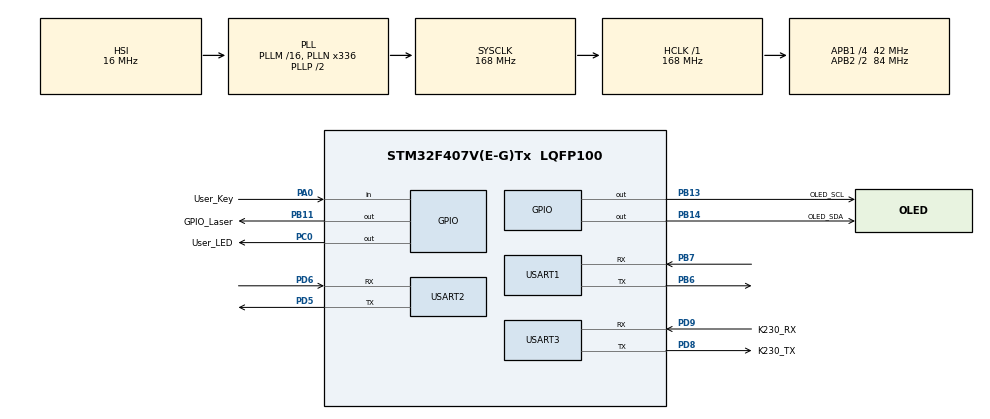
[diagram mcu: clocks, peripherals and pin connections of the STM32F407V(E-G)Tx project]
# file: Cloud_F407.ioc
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Mcu.Family=STM32F4
Mcu.Name=STM32F407V(E-G)Tx
Mcu.Package=LQFP100
NVIC.PriorityGroup=NVIC_PRIORITYGROUP_4
NVIC.TIM8_TRG_COM_TIM14_IRQn=true\:0\:0\:false\:false\:true\:true\:true\:true
NVIC.USART1_IRQn=true\:0\:0\:false\:false\:true\:true\:true\:true
NVIC.USART2_IRQn=true\:0\:0\:false\:false\:true\:true\:true\:true
NVIC.USART3_IRQn=true\:0\:0\:false\:false\:true\:true\:true\:true
PA0-WKUP.GPIO_Label=User_Key
PA0-WKUP.GPIO_PuPd=GPIO_PULLDOWN
PA0-WKUP.Signal=GPIO_Input
PA13.Mode=Serial_Wire
PA13.Signal=SYS_JTMS-SWDIO
PA14.Mode=Serial_Wire
PA14.Signal=SYS_JTCK-SWCLK
PB11.GPIO_Label=GPIO_Laser
PB11.Signal=GPIO_Output
PB13.GPIO_Label=OLED_SCL
PB13.GPIO_Speed=GPIO_SPEED_FREQ_HIGH
PB13.Signal=GPIO_Output
PB14.GPIO_Label=OLED_SDA
PB14.GPIO_Speed=GPIO_SPEED_FREQ_HIGH
PB14.Signal=GPIO_Output
PB6.Mode=Asynchronous
PB6.Signal=USART1_TX
PB7.Mode=Asynchronous
PB7.Signal=USART1_RX
PC0.GPIO_Label=User_LED
PC0.Signal=GPIO_Output
PD5.Mode=Asynchronous
PD5.Signal=USART2_TX
PD6.Mode=Asynchronous
PD6.Signal=USART2_RX
PD8.GPIO_Label=K230_TX
PD8.Mode=Asynchronous
PD8.Signal=USART3_TX
PD9.GPIO_Label=K230_RX
PD9.Mode=Asynchronous
PD9.Signal=USART3_RX
ProjectManager.HeapSize=0x200
ProjectManager.StackSize=0x400
ProjectManager.TargetToolchain=CMake
RCC.48MHZClocksFreq_Value=84000000
RCC.AHBFreq_Value=168000000
RCC.APB1CLKDivider=RCC_HCLK_DIV4
RCC.APB1Freq_Value=42000000
RCC.APB1TimFreq_Value=84000000
RCC.APB2CLKDivider=RCC_HCLK_DIV2
RCC.APB2Freq_Value=84000000
RCC.APB2TimFreq_Value=168000000
RCC.CortexFreq_Value=168000000
RCC.HCLKFreq_Value=168000000
RCC.HSE_VALUE=25000000
RCC.HSI_VALUE=16000000
RCC.LSE_VALUE=32768
RCC.PLLN=336
RCC.SYSCLKFreq_VALUE=168000000
RCC.SYSCLKSource=RCC_SYSCLKSOURCE_PLLCLK
RCC.VCOOutputFreq_Value=336000000
USART1.VirtualMode=VM_ASYNC
USART2.VirtualMode=VM_ASYNC
USART3.VirtualMode=VM_ASYNC
VP_TIM14_VS_ClockSourceINT.Mode=Enable_Timer
board=custom

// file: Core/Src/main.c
/* USER CODE BEGIN Header */
/**
  ******************************************************************************
  * @file           : main.c
  * @brief          : Main program body
  ******************************************************************************
  * @attention
  *
  * Copyright (c) 2026 STMicroelectronics.
  * All rights reserved.
  *
  * This software is licensed under terms that can be found in the LICENSE file
  * in the root directory of this software component.
  * If no LICENSE file comes with this software, it is provided AS-IS.
  *
  ******************************************************************************
  */
/* USER CODE END Header */
#include "main.h"
#include "stm32f4xx_hal.h"
#include "tim.h"
#include "usart.h"
#include "gpio.h"

/* USER CODE BEGIN Includes */
#include "PID.h"
#include "Timer.h"
#include "Key.h"
#include "OLED.h"
#include "Task_Cloud.h"
#include "K230.h"
#include "DO_Device.h"
#include "Task_Ball_Contral.h"
/* USER CODE END Includes */

/* USER CODE BEGIN PV */
Key_t Key_User;
Timer_t Timer_Tick;
uint8_t i = 0;
uint8_t j = 0;
extern DO_Device_t Laser;
/* USER CODE END PV */

void SystemClock_Config(void);

/* USER CODE BEGIN 0 */

void Timer_Tick_Callback(Timer_t *timer){
  if(timer == &Timer_Tick){
    j++;
    Key_Tick(&Key_User, HAL_GPIO_ReadPin(User_Key_GPIO_Port, User_Key_Pin));
    Task_Ball_Contral_Tick();
  }
}

void Key_Global_Callback(Key_t *Key, Key_Event_e Event){
  if(Key == &Key_User){
    switch(Event){
      case KEY_EVENT_ONCE_PRESS:
        i++;
        Task_Ball_Contral_Toggle();
        break;
      case KEY_EVENT_DOUBLE_PRESS:
        Task_Ball_Contral_Pop_Restore();
        break;
      case KEY_EVENT_LONG_PRESS:
        /* Calibrate zero only while the ball is physically at tube center. */
        Task_Ball_Contral_Set_Zero();
        break;
      case KEY_EVENT_LONG_PRESS_REPEAT:
        break;
      default:
        break;
    }
  }
}
/* USER CODE END 0 */

int main(void)
{

  /* MCU Configuration--------------------------------------------------------*/

  /* Reset of all peripherals, Initializes the Flash interface and the Systick. */
  HAL_Init();

  /* Configure the system clock */
  SystemClock_Config();

  /* Initialize all configured peripherals */
  MX_GPIO_Init();
  MX_TIM14_Init();
  MX_USART3_UART_Init();
  MX_USART1_UART_Init();
  MX_USART2_UART_Init();
  /* USER CODE BEGIN 2 */
  OLED_Init();
  OLED_ShowString(1, 1, "Hello World!");
  Key_Init(&Key_User, KEY_LEVEL_HIGH);
  Key_SetEventCallback(&Key_User, Key_Global_Callback);
  Task_Ball_Contral_Init();
  Timer_Init(&Timer_Tick, Timer_14);
  Timer_Start_IT(&Timer_Tick, Timer_Tick_Callback);
  HAL_Delay(1500);
  Task_Ball_Contral_Pop_Ready();

  /* USER CODE END 2 */

  /* Infinite loop */
  while (1)
  {

    /* USER CODE BEGIN 3 */
    OLED_ShowNum(2, 1, i, 4);
    OLED_ShowNum(2, 5, j, 4);
    OLED_ShowSignedNum(3, 1, K230_GetError_x(), 4);
    OLED_ShowSignedNum(4, 1, K230_GetError_y(), 4);
    Key_Trigger_Event(&Key_User);
    Task_Ball_Contral_Loop();
  }
  /* USER CODE END 3 */
}

void SystemClock_Config(void)
{
  RCC_OscInitTypeDef RCC_OscInitStruct = {0};
  RCC_ClkInitTypeDef RCC_ClkInitStruct = {0};

  /** Configure the main internal regulator output voltage
  */
  __HAL_RCC_PWR_CLK_ENABLE();
  __HAL_PWR_VOLTAGESCALING_CONFIG(PWR_REGULATOR_VOLTAGE_SCALE1);

  /** Initializes the RCC Oscillators according to the specified parameters
  * in the RCC_OscInitTypeDef structure.
  */
  RCC_OscInitStruct.OscillatorType = RCC_OSCILLATORTYPE_HSI;
  RCC_OscInitStruct.HSIState = RCC_HSI_ON;
  RCC_OscInitStruct.HSICalibrationValue = RCC_HSICALIBRATION_DEFAULT;
  RCC_OscInitStruct.PLL.PLLState = RCC_PLL_ON;
  RCC_OscInitStruct.PLL.PLLSource = RCC_PLLSOURCE_HSI;
  RCC_OscInitStruct.PLL.PLLM = 16;
  RCC_OscInitStruct.PLL.PLLN = 336;
  RCC_OscInitStruct.PLL.PLLP = RCC_PLLP_DIV2;
  RCC_OscInitStruct.PLL.PLLQ = 4;
  if (HAL_RCC_OscConfig(&RCC_OscInitStruct) != HAL_OK)
  {
    Error_Handler();
  }

  /** Initializes the CPU, AHB and APB buses clocks
  */
  RCC_ClkInitStruct.ClockType = RCC_CLOCKTYPE_HCLK|RCC_CLOCKTYPE_SYSCLK
                              |RCC_CLOCKTYPE_PCLK1|RCC_CLOCKTYPE_PCLK2;
  RCC_ClkInitStruct.SYSCLKSource = RCC_SYSCLKSOURCE_PLLCLK;
  RCC_ClkInitStruct.AHBCLKDivider = RCC_SYSCLK_DIV1;
  RCC_ClkInitStruct.APB1CLKDivider = RCC_HCLK_DIV4;
  RCC_ClkInitStruct.APB2CLKDivider = RCC_HCLK_DIV2;

  if (HAL_RCC_ClockConfig(&RCC_ClkInitStruct, FLASH_LATENCY_5) != HAL_OK)
  {
    Error_Handler();
  }
}

void Error_Handler(void)
{
  __disable_irq();
  while (1)
  {
  }
}
